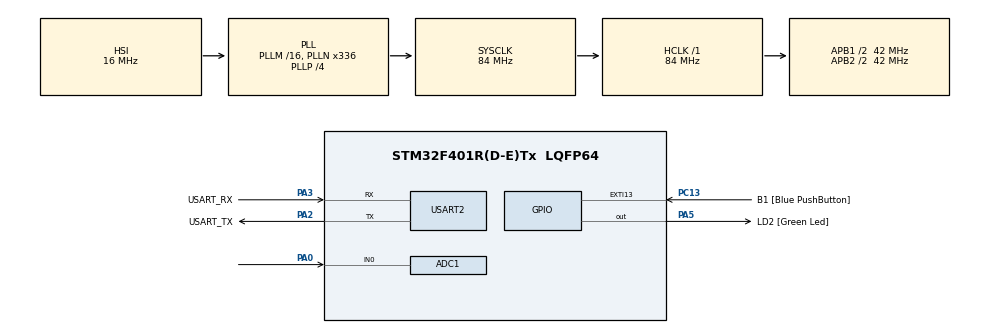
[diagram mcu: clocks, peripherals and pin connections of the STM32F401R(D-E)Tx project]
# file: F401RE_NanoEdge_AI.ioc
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ADC1.Channel-0\#ChannelRegularConversion=ADC_CHANNEL_0
ADC1.NbrOfConversionFlag=1
ADC1.Rank-0\#ChannelRegularConversion=1
ADC1.SamplingTime-0\#ChannelRegularConversion=ADC_SAMPLETIME_15CYCLES
ADC1.master=1
Mcu.Family=STM32F4
Mcu.Name=STM32F401R(D-E)Tx
Mcu.Package=LQFP64
NVIC.PriorityGroup=NVIC_PRIORITYGROUP_4
PA0-WKUP.Signal=ADCx_IN0
PA13.GPIO_Label=TMS
PA13.Mode=Trace_Asynchronous_SW
PA13.Signal=SYS_JTMS-SWDIO
PA14.GPIO_Label=TCK
PA14.Mode=Trace_Asynchronous_SW
PA14.Signal=SYS_JTCK-SWCLK
PA2.GPIO_Label=USART_TX
PA2.GPIO_Mode=GPIO_MODE_AF_PP
PA2.GPIO_PuPd=GPIO_NOPULL
PA2.GPIO_Speed=GPIO_SPEED_FREQ_LOW
PA2.Mode=Asynchronous
PA2.Signal=USART2_TX
PA3.GPIO_Label=USART_RX
PA3.GPIO_Mode=GPIO_MODE_AF_PP
PA3.GPIO_PuPd=GPIO_NOPULL
PA3.GPIO_Speed=GPIO_SPEED_FREQ_LOW
PA3.Mode=Asynchronous
PA3.Signal=USART2_RX
PA5.GPIO_Label=LD2 [Green Led]
PA5.GPIO_Mode=GPIO_MODE_OUTPUT_PP
PA5.GPIO_PuPd=GPIO_NOPULL
PA5.GPIO_Speed=GPIO_SPEED_FREQ_LOW
PA5.Signal=GPIO_Output
PB3.GPIO_Label=SWO
PB3.Mode=Trace_Asynchronous_SW
PB3.Signal=SYS_JTDO-SWO
PC13-ANTI_TAMP.GPIO_Label=B1 [Blue PushButton]
PC13-ANTI_TAMP.GPIO_ModeDefaultEXTI=GPIO_MODE_IT_FALLING
PC13-ANTI_TAMP.GPIO_PuPd=GPIO_NOPULL
PC13-ANTI_TAMP.Signal=GPXTI13
PC14-OSC32_IN.Mode=LSE-External-Oscillator
PC14-OSC32_IN.Signal=RCC_OSC32_IN
PC15-OSC32_OUT.Mode=LSE-External-Oscillator
PC15-OSC32_OUT.Signal=RCC_OSC32_OUT
PH0\ -\ OSC_IN.Mode=HSE-External-Clock-Source
PH0\ -\ OSC_IN.Signal=RCC_OSC_IN
PH1\ -\ OSC_OUT.Mode=HSE-External-Clock-Source
PH1\ -\ OSC_OUT.Signal=RCC_OSC_OUT
ProjectManager.HeapSize=0x200
ProjectManager.StackSize=0x400
ProjectManager.TargetToolchain=STM32CubeIDE
RCC.48MHZClocksFreq_Value=48000000
RCC.AHBFreq_Value=84000000
RCC.APB1CLKDivider=RCC_HCLK_DIV2
RCC.APB1Freq_Value=42000000
RCC.APB1TimFreq_Value=84000000
RCC.APB2CLKDivider=RCC_HCLK_DIV2
RCC.APB2Freq_Value=42000000
RCC.APB2TimFreq_Value=84000000
RCC.CortexFreq_Value=84000000
RCC.HCLKFreq_Value=84000000
RCC.HSE_VALUE=8000000
RCC.HSI_VALUE=16000000
RCC.PLLN=336
RCC.PLLP=RCC_PLLP_DIV4
RCC.PLLQ=7
RCC.SYSCLKFreq_VALUE=84000000
RCC.SYSCLKSource=RCC_SYSCLKSOURCE_PLLCLK
RCC.VCOOutputFreq_Value=336000000
SH.ADCx_IN0.0=ADC1_IN0,IN0
TIM1.Prescaler=84-1
USART2.VirtualMode=VM_ASYNC
VP_TIM1_VS_ClockSourceINT.Mode=Internal
board=NUCLEO-F401RE

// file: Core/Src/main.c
/* USER CODE BEGIN Header */
/**
  ******************************************************************************
  * @file           : main.c
  * @brief          : Main program body
  ******************************************************************************
  * @attention
  *
  * Copyright (c) 2025 STMicroelectronics.
  * All rights reserved.
  *
  * This software is licensed under terms that can be found in the LICENSE file
  * in the root directory of this software component.
  * If no LICENSE file comes with this software, it is provided AS-IS.
  *
  ******************************************************************************
  */
/* USER CODE END Header */
#include "main.h"

/* USER CODE BEGIN Includes */
#include <string.h>
#include <stdio.h>
#include "NanoEdgeAI.h"
#include "knowledge.h"

/* USER CODE END Includes */

/* USER CODE BEGIN PD */
/**************** NEAI algorithm defines begin *******************/
/******************* Global settings part ***************************/
#ifndef SAMPLES
  #define SAMPLES           1024     /* Should be between 16 & 4096 */
#endif
/************ Datalogger / NEAI mode part *************/
//#define LOGGER
#define NEAI
/* USER CODE END PD */

ADC_HandleTypeDef hadc1;

TIM_HandleTypeDef htim1;

UART_HandleTypeDef huart2;

/* USER CODE BEGIN PV */
uint16_t id_class = 0; // Point to id class (see argument of neai_classification fct)
float input_user_buffer[SAMPLES]; // Buffer of input values

#ifdef NEAI

float output_class_buffer[CLASS_NUMBER]; // Buffer of class probabilities
const char *id2class[CLASS_NUMBER + 1] = { // Buffer for mapping class id to class name
	"unknown",
	"Normal",
	"Fault",
};

#endif
/* USER CODE END PV */

void SystemClock_Config(void);
static void MX_GPIO_Init(void);
static void MX_ADC1_Init(void);
static void MX_TIM1_Init(void);
static void MX_USART2_UART_Init(void);

/* USER CODE BEGIN 0 */
void Delay_us(uint32_t us)
{
  __HAL_TIM_SET_COUNTER(&htim1, 0);
  while((__HAL_TIM_GET_COUNTER(&htim1)) < us);
}

int _write(int file, char *ptr, int len)
{
  HAL_UART_Transmit(&huart2, (uint8_t *)ptr, len, HAL_MAX_DELAY);
  return len;
}

static void get_adc_data(void)
{
  for (uint16_t i = 0; i < SAMPLES; i++)
  {
    HAL_ADC_Start(&hadc1);
    HAL_ADC_PollForConversion(&hadc1, 0);
    input_user_buffer[i] = HAL_ADC_GetValue(&hadc1);
    Delay_us(9);
  }
}

static void convert_adc_data_to_mA(void)
{
  for (uint16_t i = 0; i < SAMPLES; i++)
  {
    /* Transform raw ADC values in mA thanks to the conversion formula */
    input_user_buffer[i] = 805.0 * input_user_buffer[i] / 1586.0;
  }
}
/* USER CODE END 0 */

int main(void)
{

  /* USER CODE BEGIN 1 */
#ifdef NEAI
uint16_t newClass = 0;
#endif
  /* USER CODE END 1 */

  /* MCU Configuration--------------------------------------------------------*/

  /* Reset of all peripherals, Initializes the Flash interface and the Systick. */
  HAL_Init();

  /* USER CODE BEGIN Init */
  /* Load the NanoEdge AI library with the trained knowledge. */
#ifdef NEAI
enum neai_state error_code = neai_classification_init( knowledge );
if (error_code != NEAI_OK)
{
  /* This happens if the knowledge does not correspond to the library
   * or if the library works into a not supported board. */
}
#endif
  /* USER CODE END Init */

  /* Configure the system clock */
  SystemClock_Config();

  /* Initialize all configured peripherals */
  MX_GPIO_Init();
  MX_ADC1_Init();
  MX_TIM1_Init();
  MX_USART2_UART_Init();
  /* USER CODE BEGIN 2 */
  HAL_TIM_Base_Start(&htim1);
  /* USER CODE END 2 */

  /* Infinite loop */
  /* USER CODE BEGIN WHILE */
  while (1)
  {
    get_adc_data();
	convert_adc_data_to_mA();

#ifdef NEAI
	 /* Toggle the GREEN LED in NEAI function mode */
	 HAL_GPIO_TogglePin(GPIOA, LD2_Pin);

	 /* Call NEAI classification function */
	 neai_classification(input_user_buffer, output_class_buffer, &newClass);

	 /* UART 전송을 위한 버퍼 선언 */
	 char TX_Buffer[200];
	 int StrLen;

	 /* Print classification results */
	 StrLen = sprintf(TX_Buffer, "\nNEAI Classification Results:\r\n");
	 HAL_UART_Transmit(&huart2, (uint8_t *)TX_Buffer, StrLen, 1000);

	 for (uint16_t class_cpt = 0; class_cpt < CLASS_NUMBER; class_cpt++)
	 {
	     StrLen = sprintf(TX_Buffer, "%d: %.3f ", class_cpt, output_class_buffer[class_cpt]);
	     HAL_UART_Transmit(&huart2, (uint8_t *)TX_Buffer, StrLen, 1000);

           /* 한 줄에 3개씩 출력 (줄바꿈 추가) */
	       if ((class_cpt + 1) % 3 == 0)
	       {
	       StrLen = sprintf(TX_Buffer, "\r\n");
	       HAL_UART_Transmit(&huart2, (uint8_t *)TX_Buffer, StrLen, 1000);
	       }
	 }

	 /* Print detected class */
	 StrLen = sprintf(TX_Buffer, "\nClass found: %s\r\n", id2class[newClass]);
	 HAL_UART_Transmit(&huart2, (uint8_t *)TX_Buffer, StrLen, 1000);
#endif

#ifdef LOGGER
  	    /* Toggle the RED LED in datalogging mode  */
  		HAL_GPIO_TogglePin(GPIOA, LD2_Pin);

  		/* Print the whole buffer to the serial over usb_cdc */
  		for (uint16_t i = 0; i < SAMPLES; i++)
  		{
  			printf("%.3f ", input_user_buffer[i]);
  		}
  		/* Send carriage return char */
  		printf("\n");
#endif
    /* USER CODE END WHILE */

  }
}

void SystemClock_Config(void)
{
  RCC_OscInitTypeDef RCC_OscInitStruct = {0};
  RCC_ClkInitTypeDef RCC_ClkInitStruct = {0};

  /** Configure the main internal regulator output voltage
  */
  __HAL_RCC_PWR_CLK_ENABLE();
  __HAL_PWR_VOLTAGESCALING_CONFIG(PWR_REGULATOR_VOLTAGE_SCALE2);

  /** Initializes the RCC Oscillators according to the specified parameters
  * in the RCC_OscInitTypeDef structure.
  */
  RCC_OscInitStruct.OscillatorType = RCC_OSCILLATORTYPE_HSI;
  RCC_OscInitStruct.HSIState = RCC_HSI_ON;
  RCC_OscInitStruct.HSICalibrationValue = RCC_HSICALIBRATION_DEFAULT;
  RCC_OscInitStruct.PLL.PLLState = RCC_PLL_ON;
  RCC_OscInitStruct.PLL.PLLSource = RCC_PLLSOURCE_HSI;
  RCC_OscInitStruct.PLL.PLLM = 16;
  RCC_OscInitStruct.PLL.PLLN = 336;
  RCC_OscInitStruct.PLL.PLLP = RCC_PLLP_DIV4;
  RCC_OscInitStruct.PLL.PLLQ = 7;
  if (HAL_RCC_OscConfig(&RCC_OscInitStruct) != HAL_OK)
  {
    Error_Handler();
  }

  /** Initializes the CPU, AHB and APB buses clocks
  */
  RCC_ClkInitStruct.ClockType = RCC_CLOCKTYPE_HCLK|RCC_CLOCKTYPE_SYSCLK
                              |RCC_CLOCKTYPE_PCLK1|RCC_CLOCKTYPE_PCLK2;
  RCC_ClkInitStruct.SYSCLKSource = RCC_SYSCLKSOURCE_PLLCLK;
  RCC_ClkInitStruct.AHBCLKDivider = RCC_SYSCLK_DIV1;
  RCC_ClkInitStruct.APB1CLKDivider = RCC_HCLK_DIV2;
  RCC_ClkInitStruct.APB2CLKDivider = RCC_HCLK_DIV2;

  if (HAL_RCC_ClockConfig(&RCC_ClkInitStruct, FLASH_LATENCY_2) != HAL_OK)
  {
    Error_Handler();
  }
}

static void MX_ADC1_Init(void)
{

  ADC_ChannelConfTypeDef sConfig = {0};

  /** Configure the global features of the ADC (Clock, Resolution, Data Alignment and number of conversion)
  */
  hadc1.Instance = ADC1;
  hadc1.Init.ClockPrescaler = ADC_CLOCK_SYNC_PCLK_DIV2;
  hadc1.Init.Resolution = ADC_RESOLUTION_12B;
  hadc1.Init.ScanConvMode = DISABLE;
  hadc1.Init.ContinuousConvMode = DISABLE;
  hadc1.Init.DiscontinuousConvMode = DISABLE;
  hadc1.Init.ExternalTrigConvEdge = ADC_EXTERNALTRIGCONVEDGE_NONE;
  hadc1.Init.ExternalTrigConv = ADC_SOFTWARE_START;
  hadc1.Init.DataAlign = ADC_DATAALIGN_RIGHT;
  hadc1.Init.NbrOfConversion = 1;
  hadc1.Init.DMAContinuousRequests = DISABLE;
  hadc1.Init.EOCSelection = ADC_EOC_SINGLE_CONV;
  if (HAL_ADC_Init(&hadc1) != HAL_OK)
  {
    Error_Handler();
  }

  /** Configure for the selected ADC regular channel its corresponding rank in the sequencer and its sample time.
  */
  sConfig.Channel = ADC_CHANNEL_0;
  sConfig.Rank = 1;
  sConfig.SamplingTime = ADC_SAMPLETIME_15CYCLES;
  if (HAL_ADC_ConfigChannel(&hadc1, &sConfig) != HAL_OK)
  {
    Error_Handler();
  }

}

static void MX_TIM1_Init(void)
{

  TIM_ClockConfigTypeDef sClockSourceConfig = {0};
  TIM_MasterConfigTypeDef sMasterConfig = {0};

  htim1.Instance = TIM1;
  htim1.Init.Prescaler = 84-1;
  htim1.Init.CounterMode = TIM_COUNTERMODE_UP;
  htim1.Init.Period = 65535;
  htim1.Init.ClockDivision = TIM_CLOCKDIVISION_DIV1;
  htim1.Init.RepetitionCounter = 0;
  htim1.Init.AutoReloadPreload = TIM_AUTORELOAD_PRELOAD_DISABLE;
  if (HAL_TIM_Base_Init(&htim1) != HAL_OK)
  {
    Error_Handler();
  }
  sClockSourceConfig.ClockSource = TIM_CLOCKSOURCE_INTERNAL;
  if (HAL_TIM_ConfigClockSource(&htim1, &sClockSourceConfig) != HAL_OK)
  {
    Error_Handler();
  }
  sMasterConfig.MasterOutputTrigger = TIM_TRGO_RESET;
  sMasterConfig.MasterSlaveMode = TIM_MASTERSLAVEMODE_DISABLE;
  if (HAL_TIMEx_MasterConfigSynchronization(&htim1, &sMasterConfig) != HAL_OK)
  {
    Error_Handler();
  }

}

static void MX_USART2_UART_Init(void)
{

  huart2.Instance = USART2;
  huart2.Init.BaudRate = 115200;
  huart2.Init.WordLength = UART_WORDLENGTH_8B;
  huart2.Init.StopBits = UART_STOPBITS_1;
  huart2.Init.Parity = UART_PARITY_NONE;
  huart2.Init.Mode = UART_MODE_TX_RX;
  huart2.Init.HwFlowCtl = UART_HWCONTROL_NONE;
  huart2.Init.OverSampling = UART_OVERSAMPLING_16;
  if (HAL_UART_Init(&huart2) != HAL_OK)
  {
    Error_Handler();
  }

}

static void MX_GPIO_Init(void)
{
  GPIO_InitTypeDef GPIO_InitStruct = {0};

  /* GPIO Ports Clock Enable */
  __HAL_RCC_GPIOC_CLK_ENABLE();
  __HAL_RCC_GPIOH_CLK_ENABLE();
  __HAL_RCC_GPIOA_CLK_ENABLE();
  __HAL_RCC_GPIOB_CLK_ENABLE();

  /*Configure GPIO pin Output Level */
  HAL_GPIO_WritePin(LD2_GPIO_Port, LD2_Pin, GPIO_PIN_RESET);

  /*Configure GPIO pin : B1_Pin */
  GPIO_InitStruct.Pin = B1_Pin;
  GPIO_InitStruct.Mode = GPIO_MODE_IT_FALLING;
  GPIO_InitStruct.Pull = GPIO_NOPULL;
  HAL_GPIO_Init(B1_GPIO_Port, &GPIO_InitStruct);

  /*Configure GPIO pin : LD2_Pin */
  GPIO_InitStruct.Pin = LD2_Pin;
  GPIO_InitStruct.Mode = GPIO_MODE_OUTPUT_PP;
  GPIO_InitStruct.Pull = GPIO_NOPULL;
  GPIO_InitStruct.Speed = GPIO_SPEED_FREQ_LOW;
  HAL_GPIO_Init(LD2_GPIO_Port, &GPIO_InitStruct);

}

void Error_Handler(void)
{
  __disable_irq();
  while (1)
  {
  }
}
